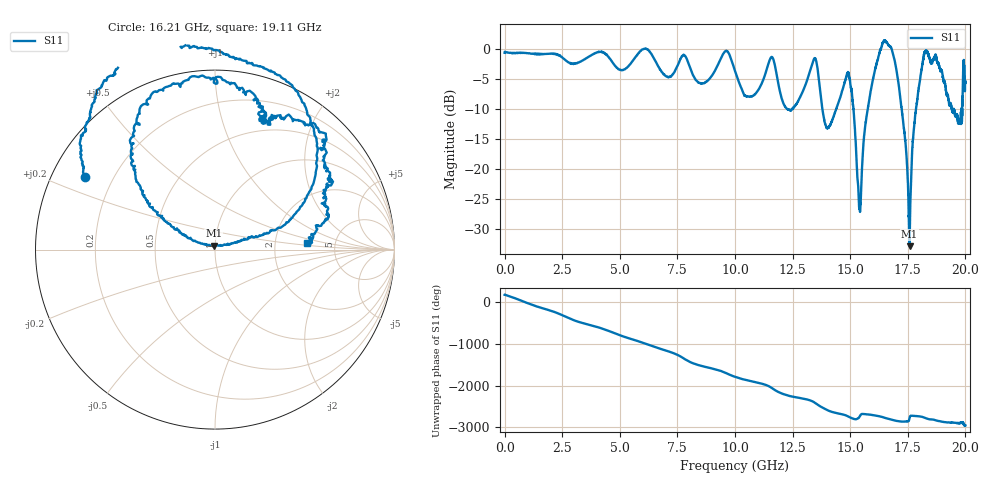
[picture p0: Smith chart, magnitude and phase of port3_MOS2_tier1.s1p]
! Created with skrf 1.8.0 (http://scikit-rf.org).
# GHz S RI R 50.0
!freq ReS11 ImS11
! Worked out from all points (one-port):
!   10001 points, 1 MHz to 20 GHz, reference 50 ohm
!   lowest |S11| = -32.9 dB at 17.58 GHz (marker M1), VSWR 1.05, Z = 49.3 + j2.12 ohm
!   |S11| at or under -10 dB: 13.79 GHz to 14.4 GHz (605 MHz wide, 4.29 % of centre); 15.14 GHz to 15.77 GHz (628.6 MHz wide, 4.07 % of centre); 17.24 GHz to 17.86 GHz (621.2 MHz wide, 3.54 % of centre) (the widest 3 of 10)
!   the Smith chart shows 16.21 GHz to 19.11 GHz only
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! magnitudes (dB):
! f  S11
! 1 MHz  -0.7
! 2.501 GHz  -1.4
! 5.001 GHz  -3.5
! 6.073 GHz  0.0
! 7.501 GHz  -2.8
! 8.627 GHz  -5.7
! 9.623 GHz  -0.3
! 10 GHz  -3.7
! 10.73 GHz  -8.0
! 11.61 GHz  -1.4
! 12.1 GHz  -9.1
! 12.5 GHz  -10.0
! 13.44 GHz  -1.6
! 14 GHz  -13.2
! 15 GHz  -5.7
! 15.41 GHz  -26.7
! 15.66 GHz  -12.5
! 16 GHz  -4.8
! 16.42 GHz  1.1
! 16.75 GHz  0.3
! 17.19 GHz  -8.7
! 17.5 GHz  -22.1
! 17.58 GHz  -32.9
! 17.81 GHz  -11.6
! 18.25 GHz  -0.5
! 18.76 GHz  -1.9
! 19.74 GHz  -12.0
! 20 GHz  -5.6
